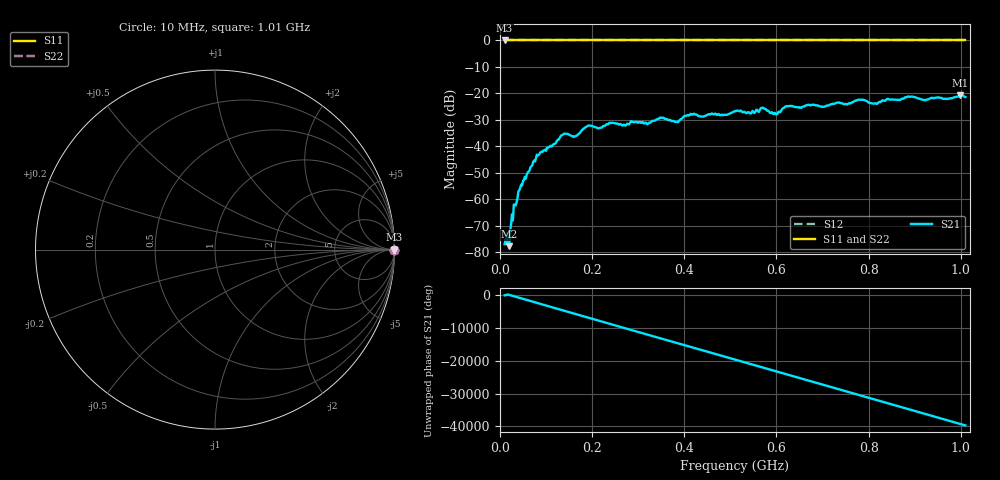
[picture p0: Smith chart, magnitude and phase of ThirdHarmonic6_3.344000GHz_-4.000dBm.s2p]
! 8/17/2025 10:32:10 AM
! C:\ANRITSUVNA\TEMP\TEMP.S2P
! CHANNEL.1
! TR.MEASUREMENT
! RAW.DATA
! RF.CORRECTION.OFF
! AVERAGING.OFF
! IF.BANDWIDTH: 5KHZ
! SWEEPTYPE:  FREQ.SWEEP(Linear)
! Reference Plane Port Info
! PORT:  PORT1  PORT2
! DISTANCE:  0  m  0  m
! TIME:  0  s  0  s
! PHASE.OFFSET:  0  deg.  0  deg.
! LOSS:  0  dB  0  dB
! REF.LOSS:  0  dB  0  dB
! REF.FREQ:  0  Hz  0  Hz
! Power Info
! POWER:  -20  dBm  -20  dBm
! EFF.POWER:  -20  dBm  -20  dBm
! SOURCE.ATTEN:  0  dB  0  dB
! TEST.ATTEN:  0  dB  0  dB
# GHZ S RI R 50.0
! FREQ.GHZ  S11RE  S11IM  S21RE  S21IM  S12RE  S12IM  S22RE  S22IM
!; PortSelection: Port_12
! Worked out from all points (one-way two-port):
!   501 points, 10 MHz to 1.01 GHz, reference 50 ohm
!   highest |S21| = -20.62 dB at 998 MHz (marker M1); lowest = -77.6 dB at 20 MHz (marker M2)
!   lowest |S11| = 0.0 dB at 10 MHz (marker M3)
!   |S11| at or under -10 dB: nowhere
!   |S22| runs from 0.0 to 0.0 dB; largest |S21 - S12| = 1.1
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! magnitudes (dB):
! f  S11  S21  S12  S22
! 10 MHz  0.0  -76.9  0.0  0.0
! 20 MHz  0.0  -77.6  0.0  0.0
! 24 MHz  0.0  -69.3  0.0  0.0
! 28 MHz  0.0  -67.9  0.0  0.0
! 42 MHz  0.0  -56.5  0.0  0.0
! 82 MHz  0.0  -43.3  0.0  0.0
! 136 MHz  0.0  -35.6  0.0  0.0
! 162 MHz  0.0  -36.2  0.0  0.0
! 178 MHz  0.0  -33.9  0.0  0.0
! 194 MHz  0.0  -32.1  0.0  0.0
! 322 MHz  0.0  -31.3  0.0  0.0
! 344 MHz  0.0  -29.6  0.0  0.0
! 384 MHz  0.0  -30.7  0.0  0.0
! 418 MHz  0.0  -28.0  0.0  0.0
! 510 MHz  0.0  -26.7  0.0  0.0
! 570 MHz  0.0  -25.3  0.0  0.0
! 598 MHz  0.0  -27.5  0.0  0.0
! 624 MHz  0.0  -24.9  0.0  0.0
! 678 MHz  0.0  -24.3  0.0  0.0
! 844 MHz  0.0  -22.2  0.0  0.0
! 998 MHz  0.0  -20.6  0.0  0.0
! 1.01 GHz  0.0  -21.3  0.0  0.0
